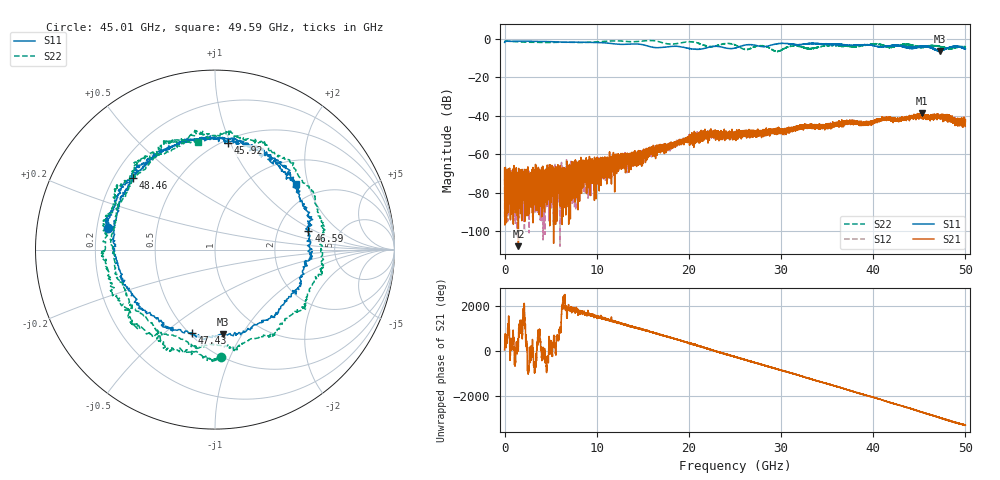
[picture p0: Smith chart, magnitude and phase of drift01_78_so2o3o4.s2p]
!Created with skrf (http://scikit-rf.org).
# Hz S RI R 50.0
!freq ReS11 ImS11 ReS21 ImS21 ReS12 ImS12 ReS22 ImS22
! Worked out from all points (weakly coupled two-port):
!   10001 points, 300 kHz to 50 GHz, reference 50 ohm
!   highest |S21| = -38.73 dB at 45.27 GHz (marker M1); lowest = -107.6 dB at 1.495 GHz (marker M2)
!   lowest |S11| = -6.5 dB at 47.28 GHz (marker M3), VSWR 2.79, Z = 34.3 - j41.4 ohm
!   |S11| at or under -10 dB: nowhere
!   |S22| runs from -6.8 to -1.0 dB; largest |S21 - S12| = 0.0036
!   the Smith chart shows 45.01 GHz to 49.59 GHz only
!   S11 on the Smith chart (normalised r, x): 45.01 GHz: 0.24, +0.09; 45.92 GHz: 0.53, +0.98; 46.59 GHz: 2.98, +0.88; 47.43 GHz: 0.52, -0.62; 48.46 GHz: 0.28, +0.35; 49.59 GHz: 1.52, +1.67
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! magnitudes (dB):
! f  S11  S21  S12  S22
! 300 kHz  -2.1  -67.2  -72.7  -1.3
! 255.3 MHz  -1.4  -78.7  -77.3  -1.4
! 1.495 GHz  -1.4  -107.6  -84.5  -1.7
! 6.43 GHz  -1.9  -69.3  -77.0  -1.9
! 8.335 GHz  -1.9  -72.5  -67.3  -2.1
! 16.67 GHz  -4.8  -56.7  -56.4  -1.6
! 22.2 GHz  -4.5  -49.9  -49.0  -4.2
! 25 GHz  -5.0  -48.8  -49.8  -3.4
! 28.08 GHz  -4.2  -48.2  -48.9  -3.9
! 29.55 GHz  -2.7  -48.2  -48.5  -6.7
! 31.28 GHz  -3.0  -46.0  -47.3  -3.9
! 33.34 GHz  -2.5  -45.5  -45.4  -5.3
! 41.67 GHz  -3.9  -41.5  -41.6  -4.4
! 45.01 GHz  -4.3  -39.6  -39.8  -4.5
! 45.27 GHz  -4.0  -38.7  -40.3  -4.5
! 45.92 GHz  -4.4  -40.2  -40.5  -4.3
! 46.59 GHz  -5.5  -40.2  -39.9  -3.8
! 47.28 GHz  -6.5  -41.5  -40.1  -4.3
! 47.43 GHz  -6.3  -40.4  -39.6  -4.3
! 48.46 GHz  -4.4  -41.6  -42.1  -5.4
! 49.59 GHz  -4.7  -42.0  -44.9  -4.3
! 50 GHz  -5.5  -42.3  -42.9  -4.1
